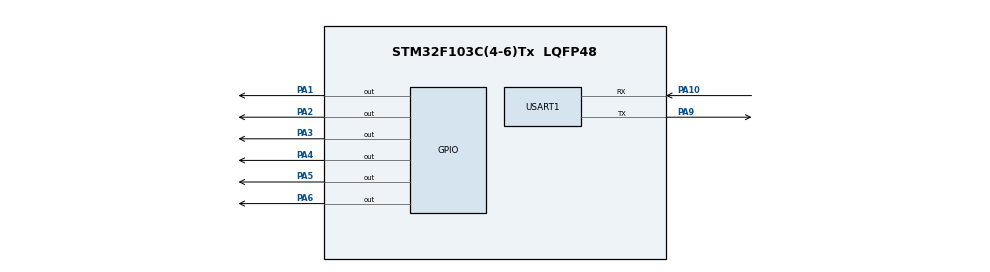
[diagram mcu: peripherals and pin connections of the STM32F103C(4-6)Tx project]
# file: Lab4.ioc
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Mcu.Family=STM32F1
Mcu.Name=STM32F103C(4-6)Tx
Mcu.Package=LQFP48
NVIC.PriorityGroup=NVIC_PRIORITYGROUP_4
NVIC.TIM2_IRQn=true\:0\:0\:false\:false\:true\:true\:true
PA1.Signal=GPIO_Output
PA10.Mode=Asynchronous
PA10.Signal=USART1_RX
PA2.Signal=GPIO_Output
PA3.Signal=GPIO_Output
PA4.Signal=GPIO_Output
PA5.Signal=GPIO_Output
PA6.Signal=GPIO_Output
PA9.Mode=Asynchronous
PA9.Signal=USART1_TX
ProjectManager.HeapSize=0x200
ProjectManager.StackSize=0x400
ProjectManager.TargetToolchain=STM32CubeIDE
RCC.APB1Freq_Value=8000000
RCC.APB2Freq_Value=8000000
TIM2.Period=9
TIM2.Prescaler=7999
USART1.VirtualMode=VM_ASYNC
VP_SYS_VS_ND.Mode=No_Debug
VP_TIM2_VS_ClockSourceINT.Mode=Internal
board=custom

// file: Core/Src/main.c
/* USER CODE BEGIN Header */
/**
  ******************************************************************************
  * @file           : main.c
  * @brief          : Main program body
  ******************************************************************************
  * @attention
  *
  * <h2><center>&copy; Copyright (c) 2026 STMicroelectronics.
  * All rights reserved.</center></h2>
  *
  * This software component is licensed by ST under BSD 3-Clause license,
  * the "License"; You may not use this file except in compliance with the
  * License. You may obtain a copy of the License at:
  *                        opensource.org/licenses/BSD-3-Clause
  *
  ******************************************************************************
  */
/* USER CODE END Header */
#include "main.h"

/* USER CODE BEGIN Includes */
#include "scheduler.h"
#include <stdio.h>
#include <string.h>
/* USER CODE END Includes */

TIM_HandleTypeDef htim2;

UART_HandleTypeDef huart1;

void SystemClock_Config(void);
static void MX_GPIO_Init(void);
static void MX_TIM2_Init(void);
static void MX_USART1_UART_Init(void);

/* USER CODE BEGIN 0 */

void Send_Task_Log(const char *task_name, const char *extra_msg) {
    char buffer[100];
    uint32_t current_time = SCH_Gettime()*TICK_MS;

    if (extra_msg != NULL && strlen(extra_msg) > 0) {
        snprintf(buffer, sizeof(buffer), "[%s | Time: %lu ms] IS RUNNING %s\r\n", task_name, current_time, extra_msg);
    } else {
        snprintf(buffer, sizeof(buffer), "[%s | Time: %lu ms] IS RUNNING\r\n", task_name, current_time);
    }

    HAL_UART_Transmit(&huart1, (uint8_t *)buffer, strlen(buffer), 100);
}
void HAL_TIM_PeriodElapsedCallback ( TIM_HandleTypeDef * htim )
{

	SCH_Update();

 }
void Task0_5_BlinkLedRed(){
	HAL_GPIO_TogglePin(GPIOA, GPIO_PIN_1);
	Send_Task_Log("Task 0.5s", "");
}
void Task1_0_BlinkLedGreen(){
	HAL_GPIO_TogglePin(GPIOA, GPIO_PIN_2);
	Send_Task_Log("Task 1.0s", "");

}
void Task1_5_BlinkLedYellow(){
	HAL_GPIO_TogglePin(GPIOA, GPIO_PIN_3);
	Send_Task_Log("Task 1.5s", "");
}
void Task2_0_BlinkLedRed_Green(){
	HAL_GPIO_TogglePin(GPIOA, GPIO_PIN_4);
	Send_Task_Log("Task 2.0s", "");
}
void Task2_5_BlinkLedRed_Yellow(){

	HAL_GPIO_TogglePin(GPIOA, GPIO_PIN_5);
	Send_Task_Log("Task 2.5s", "");
}
void OneshotTask(){
	HAL_GPIO_TogglePin(GPIOA, GPIO_PIN_6);
	Send_Task_Log("Task One Shot", "");
}
/* USER CODE END 0 */

int main(void)
{

  /* MCU Configuration--------------------------------------------------------*/

  /* Reset of all peripherals, Initializes the Flash interface and the Systick. */
  HAL_Init();

  /* Configure the system clock */
  SystemClock_Config();

  /* Initialize all configured peripherals */
  MX_GPIO_Init();
  MX_TIM2_Init();
  MX_USART1_UART_Init();
  /* USER CODE BEGIN 2 */
  HAL_TIM_Base_Start_IT(&htim2);
  SCH_Init();
  SCH_Add_Task(Task0_5_BlinkLedRed, 50, 500);
  SCH_Add_Task(Task1_0_BlinkLedGreen,100, 1000);
  SCH_Add_Task(Task1_5_BlinkLedYellow, 150, 1500);
  SCH_Add_Task(Task2_0_BlinkLedRed_Green,200, 2000);
  SCH_Add_Task(Task2_5_BlinkLedRed_Yellow, 250, 2500);
  SCH_Add_Task(OneshotTask,1000, 0);
  char text[] = "STM32 is running...\r\n";
      HAL_UART_Transmit(&huart1, (uint8_t*)text, strlen(text), 100);

  /* USER CODE END 2 */

  /* Infinite loop */
  /* USER CODE BEGIN WHILE */
  while (1)
  {
	 SCH_Dispatch_Tasks();
    /* USER CODE END WHILE */

  }
}

void SystemClock_Config(void)
{
  RCC_OscInitTypeDef RCC_OscInitStruct = {0};
  RCC_ClkInitTypeDef RCC_ClkInitStruct = {0};

  /** Initializes the RCC Oscillators according to the specified parameters
  * in the RCC_OscInitTypeDef structure.
  */
  RCC_OscInitStruct.OscillatorType = RCC_OSCILLATORTYPE_HSI;
  RCC_OscInitStruct.HSIState = RCC_HSI_ON;
  RCC_OscInitStruct.HSICalibrationValue = RCC_HSICALIBRATION_DEFAULT;
  RCC_OscInitStruct.PLL.PLLState = RCC_PLL_NONE;
  if (HAL_RCC_OscConfig(&RCC_OscInitStruct) != HAL_OK)
  {
    Error_Handler();
  }
  /** Initializes the CPU, AHB and APB buses clocks
  */
  RCC_ClkInitStruct.ClockType = RCC_CLOCKTYPE_HCLK|RCC_CLOCKTYPE_SYSCLK
                              |RCC_CLOCKTYPE_PCLK1|RCC_CLOCKTYPE_PCLK2;
  RCC_ClkInitStruct.SYSCLKSource = RCC_SYSCLKSOURCE_HSI;
  RCC_ClkInitStruct.AHBCLKDivider = RCC_SYSCLK_DIV1;
  RCC_ClkInitStruct.APB1CLKDivider = RCC_HCLK_DIV1;
  RCC_ClkInitStruct.APB2CLKDivider = RCC_HCLK_DIV1;

  if (HAL_RCC_ClockConfig(&RCC_ClkInitStruct, FLASH_LATENCY_0) != HAL_OK)
  {
    Error_Handler();
  }
}

static void MX_TIM2_Init(void)
{

  TIM_ClockConfigTypeDef sClockSourceConfig = {0};
  TIM_MasterConfigTypeDef sMasterConfig = {0};

  htim2.Instance = TIM2;
  htim2.Init.Prescaler = 7999;
  htim2.Init.CounterMode = TIM_COUNTERMODE_UP;
  htim2.Init.Period = 9;
  htim2.Init.ClockDivision = TIM_CLOCKDIVISION_DIV1;
  htim2.Init.AutoReloadPreload = TIM_AUTORELOAD_PRELOAD_DISABLE;
  if (HAL_TIM_Base_Init(&htim2) != HAL_OK)
  {
    Error_Handler();
  }
  sClockSourceConfig.ClockSource = TIM_CLOCKSOURCE_INTERNAL;
  if (HAL_TIM_ConfigClockSource(&htim2, &sClockSourceConfig) != HAL_OK)
  {
    Error_Handler();
  }
  sMasterConfig.MasterOutputTrigger = TIM_TRGO_RESET;
  sMasterConfig.MasterSlaveMode = TIM_MASTERSLAVEMODE_DISABLE;
  if (HAL_TIMEx_MasterConfigSynchronization(&htim2, &sMasterConfig) != HAL_OK)
  {
    Error_Handler();
  }

}

static void MX_USART1_UART_Init(void)
{

  huart1.Instance = USART1;
  huart1.Init.BaudRate = 115200;
  huart1.Init.WordLength = UART_WORDLENGTH_8B;
  huart1.Init.StopBits = UART_STOPBITS_1;
  huart1.Init.Parity = UART_PARITY_NONE;
  huart1.Init.Mode = UART_MODE_TX_RX;
  huart1.Init.HwFlowCtl = UART_HWCONTROL_NONE;
  huart1.Init.OverSampling = UART_OVERSAMPLING_16;
  if (HAL_UART_Init(&huart1) != HAL_OK)
  {
    Error_Handler();
  }

}

static void MX_GPIO_Init(void)
{
  GPIO_InitTypeDef GPIO_InitStruct = {0};

  /* GPIO Ports Clock Enable */
  __HAL_RCC_GPIOA_CLK_ENABLE();

  /*Configure GPIO pin Output Level */
  HAL_GPIO_WritePin(GPIOA, GPIO_PIN_1|GPIO_PIN_2|GPIO_PIN_3|GPIO_PIN_4
                          |GPIO_PIN_5|GPIO_PIN_6, GPIO_PIN_RESET);

  /*Configure GPIO pins : PA1 PA2 PA3 PA4
                           PA5 PA6 */
  GPIO_InitStruct.Pin = GPIO_PIN_1|GPIO_PIN_2|GPIO_PIN_3|GPIO_PIN_4
                          |GPIO_PIN_5|GPIO_PIN_6;
  GPIO_InitStruct.Mode = GPIO_MODE_OUTPUT_PP;
  GPIO_InitStruct.Pull = GPIO_NOPULL;
  GPIO_InitStruct.Speed = GPIO_SPEED_FREQ_LOW;
  HAL_GPIO_Init(GPIOA, &GPIO_InitStruct);

}

void Error_Handler(void)
{
  __disable_irq();
  while (1)
  {
  }
}

/************************ (C) COPYRIGHT STMicroelectronics *****END OF FILE****/
